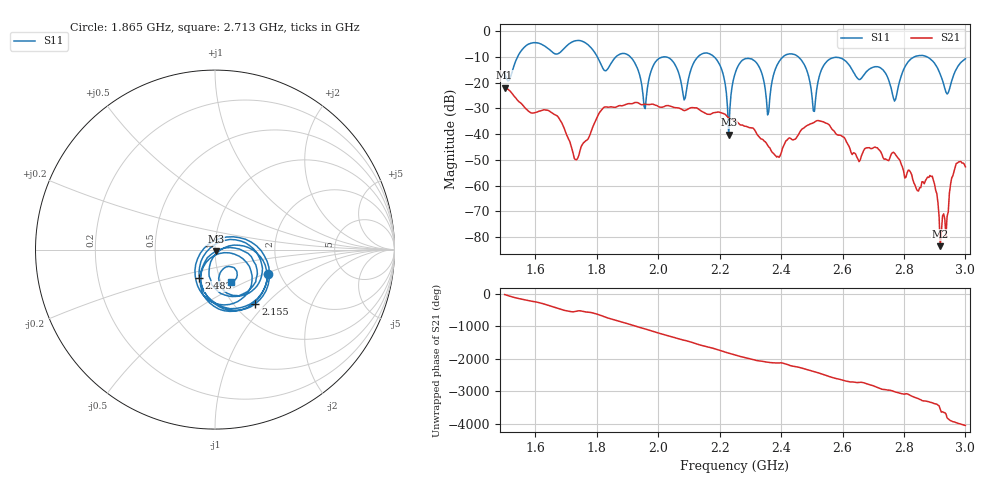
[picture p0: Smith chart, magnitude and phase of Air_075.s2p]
# HZ S RI R 50
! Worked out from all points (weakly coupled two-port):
!   404 points, 1.5 GHz to 3 GHz, reference 50 ohm
!   highest |S21| = -21.91 dB at 1.5 GHz (marker M1); lowest = -83.6 dB at 2.918 GHz (marker M2)
!   lowest |S11| = -40.3 dB at 2.23 GHz (marker M3), VSWR 1.02, Z = 50.4 - j0.875 ohm
!   |S11| at or under -10 dB: 2.182 GHz to 2.406 GHz (224.3 MHz wide, 9.78 % of centre); 2.456 GHz to 2.834 GHz (377.4 MHz wide, 14.3 % of centre); 2.875 GHz to end of sweep (the widest 3 of 7)
!   S12 and S22 are empty: the file has one direction only
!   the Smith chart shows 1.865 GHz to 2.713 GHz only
!   S11 on the Smith chart (normalised r, x): 1.865 GHz: 1.74, -0.53; 2.155 GHz: 1.24, -0.87; 2.483 GHz: 0.80, -0.26; 2.713 GHz: 1.11, -0.42
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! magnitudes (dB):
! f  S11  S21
! 1.5 GHz  -16.4  -21.9
! 1.753 GHz  -3.9  -44.0
! 1.865 GHz  -9.7  -29.4
! 1.958 GHz  -30.1  -28.4
! 2.002 GHz  -10.6  -29.4
! 2.084 GHz  -26.8  -30.9
! 2.155 GHz  -8.5  -32.0
! 2.203 GHz  -13.9  -31.6
! 2.23 GHz  -40.3  -33.7
! 2.252 GHz  -15.9  -34.8
! 2.315 GHz  -11.7  -38.6
! 2.356 GHz  -32.6  -44.3
! 2.39 GHz  -12.6  -48.7
! 2.483 GHz  -14.9  -36.8
! 2.501 GHz  -26.0  -35.8
! 2.561 GHz  -10.7  -37.2
! 2.713 GHz  -13.8  -45.3
! 2.751 GHz  -19.1  -50.3
! 2.892 GHz  -11.5  -56.4
! 2.918 GHz  -16.7  -83.6
! 2.94 GHz  -24.4  -71.9
! 3 GHz  -10.7  -52.7
